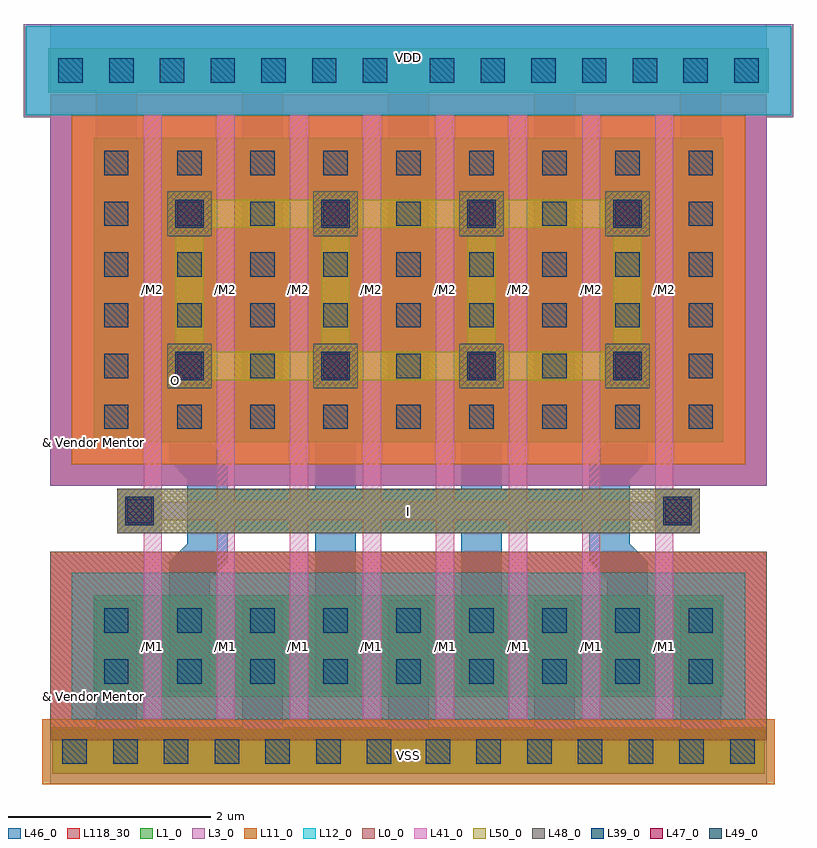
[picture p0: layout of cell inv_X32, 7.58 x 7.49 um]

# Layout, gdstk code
import gdstk
lib = gdstk.Library(unit=1e-6, precision=1e-09)
def R(c, l, rs):  # rectangles x0, y0, x1, y1
    for r in rs: c.add(gdstk.rectangle(r[:2], r[2:], *l))
def A(c, l, x, y, w, h, nx, ny, dx, dy):  # array of equal rectangles
    R(c, l, [(x+i*dx, y+j*dy, x+i*dx+w, y+j*dy+h) for i in range(nx) for j in range(ny)])
def P(c, l, *ps):  # polygons
    for p in ps: c.add(gdstk.Polygon(p, *l))
L0_0 = (0, 0)
L1_0 = (1, 0)
L3_0 = (3, 0)
L11_0 = (11, 0)
L12_0 = (12, 0)
L39_0 = (39, 0)
L41_0 = (41, 0)
L46_0 = (46, 0)
L47_0 = (47, 0)
L48_0 = (48, 0)
L49_0 = (49, 0)
L50_0 = (50, 0)
L118_30 = (118, 30)

m1m2 = lib.new_cell('M1M2')
R(m1m2, L46_0, [(-0.22,-0.22,0.22,0.22)])
R(m1m2, L47_0, [(-0.14,-0.14,0.14,0.14)])
R(m1m2, L48_0, [(-0.22,-0.22,0.22,0.22)])

m2m3 = lib.new_cell('M2M3')
R(m2m3, L48_0, [(-0.22,-0.22,0.22,0.22)])
R(m2m3, L49_0, [(-0.14,-0.14,0.14,0.14)])
R(m2m3, L50_0, [(-0.22,-0.22,0.22,0.22)])

mpoly = lib.new_cell('MPOLY')
R(mpoly, L39_0, [(-0.12,-0.12,0.12,0.12)])
R(mpoly, L41_0, [(-0.22,-0.22,0.22,0.22)])
R(mpoly, L46_0, [(-0.2,-0.2,0.2,0.2)])

inv_x32 = lib.new_cell('inv_X32')
R(inv_x32, L0_0, [(16.52,-4.21,23.58,-2.35)])
R(inv_x32, L1_0, [(16.54,-4.54,23.56,-4.1), (16.95,-3.78,23.15,-2.78), (16.95,-3.78,17.44,-2.78), (22.66,-3.78,23.15,-2.78), (16.95,-1.27,23.15,1.73), (16.95,-1.27,17.44,1.73), (22.66,-1.27,23.15,1.73), (16.5,2.17,23.6,2.61)])
R(inv_x32, L3_0, [(16.52,-1.7,23.58,2.16), (16.26,1.93,23.84,2.85)])
R(inv_x32, L11_0, [(16.44,-4.64,23.66,-4), (16.73,-1.49,23.37,1.95)])
R(inv_x32, L12_0, [(16.73,-4,23.37,-2.56), (16.28,1.95,23.82,2.83)])
A(inv_x32, L39_0, 16.64, -4.44, 0.24, 0.24, 7, 1, 0.5, 0)
A(inv_x32, L39_0, 20.22, -4.44, 0.24, 0.24, 7, 1, 0.5, 0)
A(inv_x32, L39_0, 17.05, -3.65, 0.24, 0.24, 9, 2, 0.72, 0.5)
A(inv_x32, L39_0, 17.05, -1.14, 0.24, 0.24, 9, 6, 0.72, 0.5)
A(inv_x32, L39_0, 16.6, 2.27, 0.24, 0.24, 7, 1, 0.5, 0)
A(inv_x32, L39_0, 20.26, 2.27, 0.24, 0.24, 7, 1, 0.5, 0)
A(inv_x32, L41_0, 17.44, -4, 0.18, 0.22, 8, 2, 0.72, 1.22)
A(inv_x32, L41_0, 17.44, -3.78, 0.18, 1, 8, 1, 0.72, 0)
A(inv_x32, L41_0, 17.44, -2.74, 0.18, 1.43, 8, 1, 0.72, 0)
A(inv_x32, L41_0, 17.44, -1.49, 0.18, 0.22, 8, 2, 0.72, 3.22)
A(inv_x32, L41_0, 17.44, -1.27, 0.18, 3, 8, 1, 0.72, 0)
R(inv_x32, L41_0, [(17.31,-2.04,17.61,-1.86), (17.44,-2.04,22.66,-1.86), (22.61,-2.04,22.91,-1.86)])
A(inv_x32, L46_0, 16.97, -4.48, 0.4, 1.15, 5, 1, 1.44, 0)
A(inv_x32, L46_0, 16.97, -3.73, 0.4, 0.9, 9, 1, 0.72, 0)
A(inv_x32, L46_0, 16.97, -1.22, 0.4, 2.9, 9, 1, 0.72, 0)
A(inv_x32, L46_0, 16.97, 1.28, 0.4, 1.31, 5, 1, 1.44, 0)
R(inv_x32, L46_0, [(16.52,-4.64,23.58,-4.08), (16.52,-4.56,23.58,-4.08), (19.13,-3.23,19.53,-0.82), (20.57,-3.23,20.97,-0.82), (17.87,-2.17,22.23,-1.74), (16.52,2.19,23.58,2.59), (16.52,2.19,23.58,2.85)])
P(inv_x32, L46_0, [(21.83,-2.45),(22.01,-2.63),(22.01,-3.23),(22.41,-3.23),(22.41,-2.45),(22.23,-2.27),(22.23,-1.63),(22.41,-1.45),(22.41,-0.82),(22.01,-0.82),(22.01,-1.27),(21.83,-1.45)],
  [(17.69,-3.23),(18.09,-3.23),(18.09,-2.63),(18.27,-2.45),(18.27,-1.45),(18.09,-1.27),(18.09,-0.82),(17.69,-0.82),(17.69,-1.45),(17.87,-1.63),(17.87,-2.27),(17.69,-2.45)])
R(inv_x32, L48_0, [(17.18,-2.17,22.67,-1.73)])
R(inv_x32, L50_0, [(17.18,-2.17,22.92,-1.73)])
P(inv_x32, L50_0, [(17.75,-0.66),(22.35,-0.66),(22.35,1.12),(22.07,1.12),(22.07,-0.38),(20.91,-0.38),(20.91,0.84),(22.07,0.84),(22.07,1.12),(20.63,1.12),(20.63,-0.38),(19.47,-0.38),(19.47,0.84),(20.63,0.84),(20.63,1.12),(19.19,1.12),(19.19,-0.38),(18.03,-0.38),(18.03,0.84),(19.19,0.84),(19.19,1.12),(17.75,1.12)])
R(inv_x32, L118_30, [(16.52,-4.21,23.58,-2.35), (16.52,-1.7,23.58,2.16)])
inv_x32.add(gdstk.Reference(m1m2, (19.33,0.98)))
inv_x32.add(gdstk.Reference(m1m2, (22.21,-0.52)))
inv_x32.add(gdstk.Reference(m2m3, (22.21,-0.52)))
inv_x32.add(gdstk.Reference(m1m2, (22.21,0.98)))
inv_x32.add(gdstk.Reference(m1m2, (20.77,-0.52)))
inv_x32.add(gdstk.Reference(m2m3, (19.33,0.98)))
inv_x32.add(gdstk.Reference(m2m3, (22.21,0.98)))
inv_x32.add(gdstk.Reference(m2m3, (19.33,-0.52)))
inv_x32.add(gdstk.Reference(m1m2, (22.7,-1.95)))
inv_x32.add(gdstk.Reference(mpoly, (22.7,-1.95)))
inv_x32.add(gdstk.Reference(m2m3, (22.7,-1.95)))
inv_x32.add(gdstk.Reference(m1m2, (17.89,-0.52)))
inv_x32.add(gdstk.Reference(m1m2, (17.89,0.98)))
inv_x32.add(gdstk.Reference(m2m3, (17.89,0.98)))
inv_x32.add(gdstk.Reference(m1m2, (19.33,-0.52)))
inv_x32.add(gdstk.Reference(m1m2, (17.4,-1.95)))
inv_x32.add(gdstk.Reference(mpoly, (17.4,-1.95)))
inv_x32.add(gdstk.Reference(m2m3, (17.4,-1.95)))
inv_x32.add(gdstk.Reference(m2m3, (17.89,-0.52)))
inv_x32.add(gdstk.Reference(m2m3, (20.77,-0.52)))
inv_x32.add(gdstk.Reference(m1m2, (20.77,0.98)))
inv_x32.add(gdstk.Reference(m2m3, (20.77,0.98)))
inv_x32.add(gdstk.Label('/M1', (17.53,-3.28), layer=85, texttype=0))
inv_x32.add(gdstk.Label('/M1', (18.25,-3.28), layer=85, texttype=0))
inv_x32.add(gdstk.Label('/M1', (18.97,-3.28), layer=85, texttype=0))
inv_x32.add(gdstk.Label('/M1', (19.69,-3.28), layer=85, texttype=0))
inv_x32.add(gdstk.Label('/M1', (20.41,-3.28), layer=85, texttype=0))
inv_x32.add(gdstk.Label('/M1', (21.13,-3.28), layer=85, texttype=0))
inv_x32.add(gdstk.Label('/M1', (21.85,-3.28), layer=85, texttype=0))
inv_x32.add(gdstk.Label('/M1', (22.57,-3.28), layer=85, texttype=0))
inv_x32.add(gdstk.Label('& Vendor Mentor', (16.95,-3.78), layer=63, texttype=63))
inv_x32.add(gdstk.Label('& Product UMC180FDKMFM', (16.95,-3.78), layer=63, texttype=63))
inv_x32.add(gdstk.Label('& Version A01', (16.95,-3.78), layer=63, texttype=63))
inv_x32.add(gdstk.Label('& Metric 0', (16.95,-3.78), layer=63, texttype=63))
inv_x32.add(gdstk.Label('& _PublicCode', (16.95,-3.78), layer=63, texttype=63))
inv_x32.add(gdstk.Label('/M2', (17.53,0.23), layer=85, texttype=0))
inv_x32.add(gdstk.Label('/M2', (18.25,0.23), layer=85, texttype=0))
inv_x32.add(gdstk.Label('/M2', (18.97,0.23), layer=85, texttype=0))
inv_x32.add(gdstk.Label('/M2', (19.69,0.23), layer=85, texttype=0))
inv_x32.add(gdstk.Label('/M2', (20.41,0.23), layer=85, texttype=0))
inv_x32.add(gdstk.Label('/M2', (21.13,0.23), layer=85, texttype=0))
inv_x32.add(gdstk.Label('/M2', (21.85,0.23), layer=85, texttype=0))
inv_x32.add(gdstk.Label('/M2', (22.57,0.23), layer=85, texttype=0))
inv_x32.add(gdstk.Label('& Vendor Mentor', (16.95,-1.27), layer=63, texttype=63))
inv_x32.add(gdstk.Label('& Product UMC180FDKMFM', (16.95,-1.27), layer=63, texttype=63))
inv_x32.add(gdstk.Label('& Version A01', (16.95,-1.27), layer=63, texttype=63))
inv_x32.add(gdstk.Label('& Metric 0', (16.95,-1.27), layer=63, texttype=63))
inv_x32.add(gdstk.Label('& _PublicCode', (16.95,-1.27), layer=63, texttype=63))
inv_x32.add(gdstk.Label('I', (20.05,-1.95), layer=103, texttype=0))
inv_x32.add(gdstk.Label('O', (17.75,-0.66), layer=103, texttype=0))
inv_x32.add(gdstk.Label('VSS', (20.05,-4.36), layer=101, texttype=0))
inv_x32.add(gdstk.Label('VDD', (20.05,2.52), layer=101, texttype=0))

lib.write_gds('inv_X32.gds')
